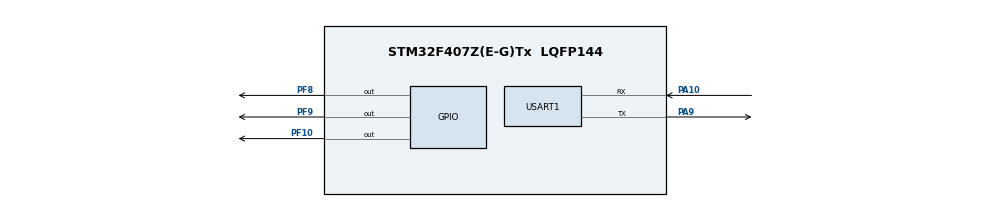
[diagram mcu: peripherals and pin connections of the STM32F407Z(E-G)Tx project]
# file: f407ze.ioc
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Mcu.Family=STM32F4
Mcu.Name=STM32F407Z(E-G)Tx
Mcu.Package=LQFP144
NVIC.PriorityGroup=NVIC_PRIORITYGROUP_4
NVIC.USART1_IRQn=true\:0\:0\:false\:false\:true\:true\:true\:true
PA10.Mode=Asynchronous
PA10.Signal=USART1_RX
PA9.Mode=Asynchronous
PA9.Signal=USART1_TX
PF10.Signal=GPIO_Output
PF8.Signal=GPIO_Output
PF9.Signal=GPIO_Output
PH0-OSC_IN.Mode=HSE-External-Oscillator
PH0-OSC_IN.Signal=RCC_OSC_IN
PH1-OSC_OUT.Mode=HSE-External-Oscillator
PH1-OSC_OUT.Signal=RCC_OSC_OUT
ProjectManager.HeapSize=0x200
ProjectManager.StackSize=0x400
ProjectManager.TargetToolchain=Makefile
RCC.48MHZClocksFreq_Value=84000000
RCC.AHBFreq_Value=168000000
RCC.APB1CLKDivider=RCC_HCLK_DIV4
RCC.APB1Freq_Value=42000000
RCC.APB1TimFreq_Value=84000000
RCC.APB2CLKDivider=RCC_HCLK_DIV2
RCC.APB2Freq_Value=84000000
RCC.APB2TimFreq_Value=168000000
RCC.CortexFreq_Value=168000000
RCC.HCLKFreq_Value=168000000
RCC.HSE_VALUE=8000000
RCC.HSI_VALUE=16000000
RCC.LSE_VALUE=32768
RCC.PLLM=8
RCC.PLLN=336
RCC.PLLSourceVirtual=RCC_PLLSOURCE_HSE
RCC.SYSCLKFreq_VALUE=168000000
RCC.SYSCLKSource=RCC_SYSCLKSOURCE_PLLCLK
RCC.VCOOutputFreq_Value=336000000
USART1.VirtualMode=VM_ASYNC
board=custom

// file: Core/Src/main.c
#include "main.h"
#include <stdio.h>
/* RAM */
#define RAM_START         (0x20000000u)
#define RAM_SIZE          (128 * 1024) // 128 KB
/* Stacks */
#define MAIN_STACK        (RAM_START + RAM_SIZE)
#define TASK_NUMBER_MAX   (16)
#define TASK_STACK_SIZE   (1024u)

typedef enum {
  RUNNING,
  BLOCKED
} TaskState_t;

typedef struct {
  void (*handler)(void);
  TaskState_t state;
  uint32_t psp;
  uint32_t waitToTick;
} TCB_t;

uint32_t __gSysTicks = 0;
uint32_t __uCurrentTaskIdx = 0;
// uint32_t __puTasksPSP[TASK_NUMBER_MAX] = {0};
TCB_t __pTasks[TASK_NUMBER_MAX] = {0};

/* USER CODE END PV */

void SystemClock_Config(void);
static void MX_GPIO_Init(void);
static void MX_USART1_UART_Init(void);
/* USER CODE BEGIN PFP */
uint32_t get_current_psp() {
  return __pTasks[__uCurrentTaskIdx].psp;
}

void save_current_psp(uint32_t psp) {
  __pTasks[__uCurrentTaskIdx].psp = psp;
}

void select_next_task() {
  /* Check all task state */
  for(int i=0; i<TASK_NUMBER_MAX; i++) {
    if(__pTasks[i].state == BLOCKED) {
      if(__gSysTicks >= __pTasks[i].waitToTick) {
        __pTasks[i].state = RUNNING;
      }
    }
  }

  /* Round-Robin scheduler */
  while (1)
  {
  __uCurrentTaskIdx++;
  // check if a task is register at current slot
  if (__uCurrentTaskIdx >= TASK_NUMBER_MAX || __pTasks[__uCurrentTaskIdx].psp == 0) {
    __uCurrentTaskIdx=0;
  }
  if(__pTasks[__uCurrentTaskIdx].state == RUNNING) break;
  }
}

void idle_main(void) {
  while(1) {
    __asm volatile("NOP");
  }
}

void start_scheduler() {
  printf("Start Scheduler!\n\r");

  // start with the first task
  __uCurrentTaskIdx = 0;
  // Step 3:
  // prepare PSP of the first task
  __asm volatile("BL get_current_psp"); // return PSP in R0
  __asm volatile("MSR PSP, R0");  // set PSP  <- R0, PSP is R13

  // change to use PSP
  __asm volatile("MRS R0, CONTROL");  // set R0  <- CONTROL,
  __asm volatile("ORR R0, R0, #2"); // set bit[1] SPSEL, R0 |= 0X02;
  __asm volatile("MSR CONTROL, R0");  //  set CONTROL  <- R0

  // Step 4: Set sysTick interrupt
  LL_Init1msTick(168000000);
  LL_SetSystemCoreClock(168000000);
  LL_SYSTICK_EnableIT();

  // Step 5: optional
  // Move to Unprivileged level
  __asm volatile("MRS R0, CONTROL");
  __asm volatile("ORR R0, R0, #1"); // Set bit[0] nPRIV
  __asm volatile("MSR CONTROL, R0");
  // right after here, access is limited

  // Step 6: Run the 1st task
  // get the handler of the first task by tracing back from PSP which is at R4 slot
  // void (*handler)() = (void (*))((uint32_t*)__puTasksPSP[__uCurrentTaskIdx])[14];
  void (*handler)() = __pTasks[__uCurrentTaskIdx].handler;

  // execute the handler
  handler();
}

void reschedule(uint32_t priv) {
  if(priv) {
    // trigger PendSV directly
    SCB->ICSR |= SCB_ICSR_PENDSVSET_Msk;
  } else {
    // call Supervisor exception to get Privileged access
    __asm volatile("SVC #255");
  }
}

void task_delay(uint32_t ticks) {
  if(__uCurrentTaskIdx) {
    __pTasks[__uCurrentTaskIdx].state = BLOCKED;
    __pTasks[__uCurrentTaskIdx].waitToTick = __gSysTicks + ticks;
    reschedule(0); // unprivileged
  }
}

void init_task(void (*handler)) {
  // init idle if it is not found
  if (handler != idle_main) {
    if (__pTasks[0].handler != idle_main) {
      init_task(idle_main);
    }
  }

  int i=0;
  // find an empty slot
  for(; i<TASK_NUMBER_MAX; i++) {
    if (__pTasks[i].psp == 0) break;
  }

  if(i >= TASK_NUMBER_MAX) {
    printf("Can not register a new task anymore!\n");
    return;
  } else {
    printf("Register a task %p at slot %i\n\r", handler, i);
  }

  // calculate new PSP
  uint32_t* psp = (uint32_t*)(MAIN_STACK - (i+1)*TASK_STACK_SIZE);

  // fill dummy stack frame
  *(--psp) = 0x01000000u; // Dummy xPSR, just enable Thumb State bit;
  *(--psp) = (uint32_t) handler; // PC
  *(--psp) = 0xFFFFFFFDu; // LR with EXC_RETURN to return to Thread using PSP
  *(--psp) = 0x12121212u; // Dummy R12
  *(--psp) = 0x03030303u; // Dummy R3
  *(--psp) = 0x02020202u; // Dummy R2
  *(--psp) = 0x01010101u; // Dummy R1
  *(--psp) = 0x00000000u; // Dummy R0
  *(--psp) = 0x11111111u; // Dummy R11
  *(--psp) = 0x10101010u; // Dummy R10
  *(--psp) = 0x09090909u; // Dummy R9
  *(--psp) = 0x08080808u; // Dummy R8
  *(--psp) = 0x07070707u; // Dummy R7
  *(--psp) = 0x06060606u; // Dummy R6
  *(--psp) = 0x05050505u; // Dummy R5
  *(--psp) = 0x04040404u; // Dummy R4

  // save PSP
  __pTasks[i].psp = (uint32_t)psp;
    // initial state
  __pTasks[i].state = RUNNING;
  __pTasks[i].handler = handler;
}

/* Tasks */
void task1_main(void) {
  while(1) {
    printf("1111\n\r");
    task_delay(128);
  }
}

void task2_main(void) {
  while(1) {
    printf("2222\n\r");
    task_delay(128);
  }
}

/* USER CODE END PFP */

int main(void)
{

  /* MCU Configuration--------------------------------------------------------*/

  /* Reset of all peripherals, Initializes the Flash interface. */
  LL_APB2_GRP1_EnableClock(LL_APB2_GRP1_PERIPH_SYSCFG);
  LL_APB1_GRP1_EnableClock(LL_APB1_GRP1_PERIPH_PWR);

  /* System interrupt init*/
  NVIC_SetPriorityGrouping(NVIC_PRIORITYGROUP_4);

  /* PendSV_IRQn interrupt configuration */
  NVIC_SetPriority(PendSV_IRQn, NVIC_EncodePriority(NVIC_GetPriorityGrouping(),15, 0));

  /* SysTick_IRQn interrupt configuration */
  NVIC_SetPriority(SysTick_IRQn, NVIC_EncodePriority(NVIC_GetPriorityGrouping(),0, 0));

  /* Configure the system clock */
  SystemClock_Config();

  /* Initialize all configured peripherals */
  MX_GPIO_Init();
  MX_USART1_UART_Init();

  /* USER CODE BEGIN 2 */
  init_task(task1_main);
  init_task(task2_main);

  start_scheduler();
  /* USER CODE END 2 */

  /* Infinite loop */
  while (1)
  {
    LL_GPIO_TogglePin(GPIOF, LL_GPIO_PIN_8);
    LL_mDelay(200);
  }
}
void SysTick_Handler(void)
{
  __gSysTicks++;
  reschedule(1); // privileged
  // SCB->ICSR |= SCB_ICSR_PENDSVSET_Msk;
}

__attribute__ ((naked)) void SVC_Handler(void) {
  /*  按位与  LR & 0100, 更新 APSR(Application Program Status Register)的 N 位和 Z 位   */
  __asm volatile("TST LR, 4"); // check LR to know which stack is used

  /*
  "ITE EQ" 相当于 If Then Else
  if( APSR Z 置位) {
    "MRSEQ R0, MSP" R0 <- MSP
    } else {
    "MRSNE R0, PSP" R0 <- PSP
  }*/
  __asm volatile("ITE EQ"); // 2 next instructions are conditional
  __asm volatile("MRSEQ R0, MSP"); // R0 <- MSP, save MSP if bit 2 is 0
  __asm volatile("MRSNE R0, PSP"); // R0 <- PSP, save PSP if bit 2 is 1
  /* 跳转到 SVC_Handler_main，参数在 R0 的寄存器里*/
  __asm volatile("B SVC_Handler_main"); // pass R0 as the argument
}

void SVC_Handler_main(uint32_t* SP) {
  // get the address of the instruction saved in PC
  /*
      |_____xPSR___|
      |_____PC_____|
      |_____LR_____|
      |_____R12____|
      |_____R3_____|
      |_____R2_____|
      |_____R1_____|
      |_____R0_____|  <---   uint32_t* SP
  */
  uint8_t *pInstruction = (uint8_t*)(SP[6]);

  // go back 2 bytes (16-bit opcode)
  pInstruction -= 2;

  // get the opcode, in little endian
  uint8_t svc_num = *pInstruction;

  switch(svc_num) {
    case 0xFF:
      // trigger PendSV
      SCB->ICSR |= SCB_ICSR_PENDSVSET_Msk;
      break;
    default:
      break;
  }
}

__attribute__ ((naked)) void PendSV_Handler(void)
// __attribute__ ((naked)) void SysTick_Handler(void)
{
  	  /* Save the context of current task */
	  // save LR back to main, must do this firstly
	  __asm volatile("PUSH {LR}");
	  // get current PSP
	  __asm volatile("MRS R0, PSP");
	  // save R4 to R11 to PSP Frame Stack
	  __asm volatile("STMDB R0!, {R4-R11}"); // R0 is updated after decrement
	  // save current value of PSP
	  __asm volatile("BL save_current_psp"); // R0 is first argument

	  /* Do scheduling */

	  // select next task
	  __asm volatile("BL select_next_task");

	  /* Retrieve the context of next task */

	  // get its past PSP value
	  __asm volatile("BL get_current_psp"); // return PSP is in R0
	  // retrieve R4-R11 from PSP Fram Stack
	  __asm volatile("LDMIA R0!, {R4-R11}"); // R0 is updated after increment
	  // update PSP
	  __asm volatile("MSR PSP, R0");

	  // exit
    __asm volatile("POP {LR}");
	  __asm volatile("BX LR");
}
void SystemClock_Config(void)
{
  LL_FLASH_SetLatency(LL_FLASH_LATENCY_5);
  while(LL_FLASH_GetLatency()!= LL_FLASH_LATENCY_5)
  {
  }
  LL_PWR_SetRegulVoltageScaling(LL_PWR_REGU_VOLTAGE_SCALE1);
  LL_RCC_HSE_Enable();

   /* Wait till HSE is ready */
  while(LL_RCC_HSE_IsReady() != 1)
  {

  }
  LL_RCC_PLL_ConfigDomain_SYS(LL_RCC_PLLSOURCE_HSE, LL_RCC_PLLM_DIV_8, 336, LL_RCC_PLLP_DIV_2);
  LL_RCC_PLL_Enable();

   /* Wait till PLL is ready */
  while(LL_RCC_PLL_IsReady() != 1)
  {

  }
  while (LL_PWR_IsActiveFlag_VOS() == 0)
  {
  }
  LL_RCC_SetAHBPrescaler(LL_RCC_SYSCLK_DIV_1);
  LL_RCC_SetAPB1Prescaler(LL_RCC_APB1_DIV_4);
  LL_RCC_SetAPB2Prescaler(LL_RCC_APB2_DIV_2);
  LL_RCC_SetSysClkSource(LL_RCC_SYS_CLKSOURCE_PLL);

   /* Wait till System clock is ready */
  while(LL_RCC_GetSysClkSource() != LL_RCC_SYS_CLKSOURCE_STATUS_PLL)
  {

  }
  // LL_Init1msTick(168000000);
  // LL_SetSystemCoreClock(168000000);
}

static void MX_USART1_UART_Init(void)
{

  LL_USART_InitTypeDef USART_InitStruct = {0};

  LL_GPIO_InitTypeDef GPIO_InitStruct = {0};

  /* Peripheral clock enable */
  LL_APB2_GRP1_EnableClock(LL_APB2_GRP1_PERIPH_USART1);

  LL_AHB1_GRP1_EnableClock(LL_AHB1_GRP1_PERIPH_GPIOA);
  /**USART1 GPIO Configuration
  PA9   ------> USART1_TX
  PA10   ------> USART1_RX
  */
  GPIO_InitStruct.Pin = LL_GPIO_PIN_9|LL_GPIO_PIN_10;
  GPIO_InitStruct.Mode = LL_GPIO_MODE_ALTERNATE;
  GPIO_InitStruct.Speed = LL_GPIO_SPEED_FREQ_VERY_HIGH;
  GPIO_InitStruct.OutputType = LL_GPIO_OUTPUT_PUSHPULL;
  GPIO_InitStruct.Pull = LL_GPIO_PULL_NO;
  GPIO_InitStruct.Alternate = LL_GPIO_AF_7;
  LL_GPIO_Init(GPIOA, &GPIO_InitStruct);

  /* USART1 interrupt Init */
  NVIC_SetPriority(USART1_IRQn, NVIC_EncodePriority(NVIC_GetPriorityGrouping(),0, 0));
  NVIC_EnableIRQ(USART1_IRQn);

  USART_InitStruct.BaudRate = 115200;
  USART_InitStruct.DataWidth = LL_USART_DATAWIDTH_8B;
  USART_InitStruct.StopBits = LL_USART_STOPBITS_1;
  USART_InitStruct.Parity = LL_USART_PARITY_NONE;
  USART_InitStruct.TransferDirection = LL_USART_DIRECTION_TX_RX;
  USART_InitStruct.HardwareFlowControl = LL_USART_HWCONTROL_NONE;
  USART_InitStruct.OverSampling = LL_USART_OVERSAMPLING_16;
  LL_USART_Init(USART1, &USART_InitStruct);
  LL_USART_ConfigAsyncMode(USART1);
  LL_USART_Enable(USART1);
  /* USER CODE BEGIN USART1_Init 2 */
  LL_USART_EnableIT_RXNE(USART1);
  /* USER CODE END USART1_Init 2 */

}

static void MX_GPIO_Init(void)
{
  LL_GPIO_InitTypeDef GPIO_InitStruct = {0};

  /* GPIO Ports Clock Enable */
  LL_AHB1_GRP1_EnableClock(LL_AHB1_GRP1_PERIPH_GPIOF);
  LL_AHB1_GRP1_EnableClock(LL_AHB1_GRP1_PERIPH_GPIOH);
  LL_AHB1_GRP1_EnableClock(LL_AHB1_GRP1_PERIPH_GPIOA);

  /**/
  LL_GPIO_ResetOutputPin(GPIOF, LL_GPIO_PIN_8|LL_GPIO_PIN_9|LL_GPIO_PIN_10);

  /**/
  GPIO_InitStruct.Pin = LL_GPIO_PIN_8|LL_GPIO_PIN_9|LL_GPIO_PIN_10;
  GPIO_InitStruct.Mode = LL_GPIO_MODE_OUTPUT;
  GPIO_InitStruct.Speed = LL_GPIO_SPEED_FREQ_LOW;
  GPIO_InitStruct.OutputType = LL_GPIO_OUTPUT_PUSHPULL;
  GPIO_InitStruct.Pull = LL_GPIO_PULL_NO;
  LL_GPIO_Init(GPIOF, &GPIO_InitStruct);

}

/* USER CODE BEGIN 4 */

void ByteReceivedCallback(void)
{
    uint8_t ch;
    // read the data from the data reception register
    // by doing this, we also clear the interrupt flag
    ch = LL_USART_ReceiveData8(USART1);

    //waiting until the Transmit Empty flag is set
    while(!LL_USART_IsActiveFlag_TXE(USART1));

    LL_USART_TransmitData8(USART1, ch);

    //Wait until the transmit complete Flag to be raised
    while (!LL_USART_IsActiveFlag_TC(USART1));
}

/* USER CODE BEGIN 4 */
int _write (int fd, char * ptr, int len)
{
  int i;

  for (i = 0; i < len; i++) {
    while(!LL_USART_IsActiveFlag_TXE(USART1));
    LL_USART_TransmitData8(USART1, *ptr++);
    // SER_PutChar (*ptr++);
  }
  while (!LL_USART_IsActiveFlag_TC(USART1));
  return (i);
}
/* USER CODE END 4 */

void Error_Handler(void)
{
  __disable_irq();
  while (1)
  {
  }
}
